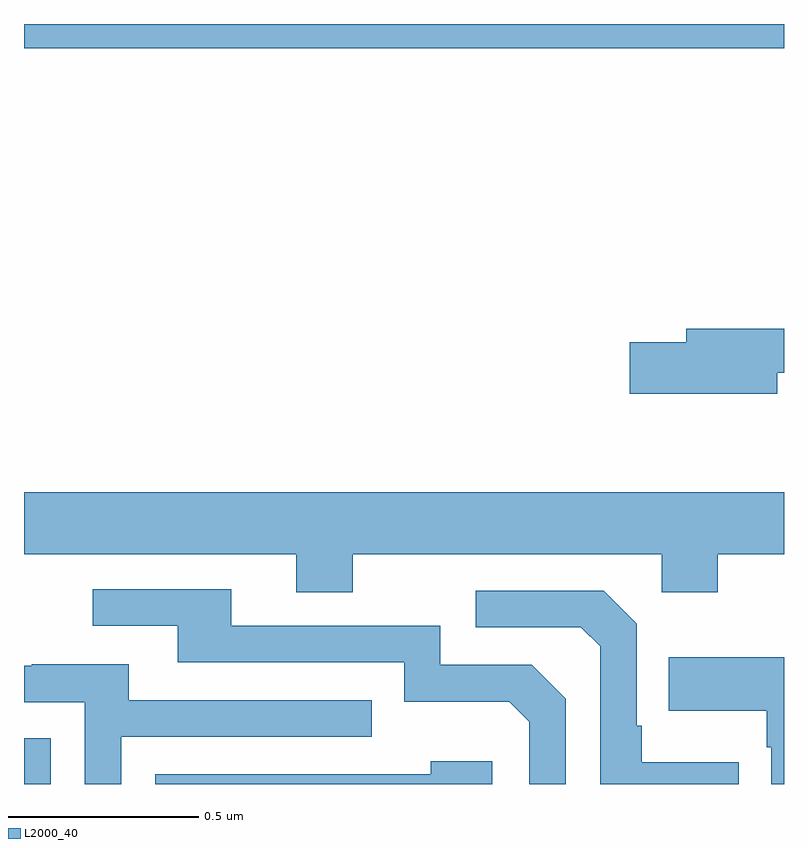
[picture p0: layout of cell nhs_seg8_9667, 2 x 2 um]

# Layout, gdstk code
import gdstk
lib = gdstk.Library(unit=1e-6, precision=1e-09)
def R(c, l, rs):  # rectangles x0, y0, x1, y1
    for r in rs: c.add(gdstk.rectangle(r[:2], r[2:], *l))
def P(c, l, *ps):  # polygons
    for p in ps: c.add(gdstk.Polygon(p, *l))
L2000_40 = (2000, 40)

nhs_seg8_9667 = lib.new_cell('nhs_seg8_9667')
R(nhs_seg8_9667, L2000_40, [(239,1111.9,239.07,1112.02), (239,1113.836,241,1113.9)])
P(nhs_seg8_9667, L2000_40, [(240.982,1112.982),(241,1112.982),(241,1113.098),(240.743,1113.098),(240.743,1113.062),(240.594,1113.062),(240.594,1112.927),(240.982,1112.927)],
  [(239.865,1112.504),(240.678,1112.504),(240.678,1112.405),(240.825,1112.405),(240.825,1112.504),(241,1112.504),(241,1112.668),(239,1112.668),(239,1112.504),(239.717,1112.504),(239.717,1112.405),(239.865,1112.405)],
  [(240.426,1112.124),(240.336,1112.214),(240.096,1112.214),(240.096,1112.316),(239.545,1112.316),(239.545,1112.412),(239.181,1112.412),(239.181,1112.316),(239.405,1112.316),(239.405,1112.22),(240,1112.22),(240,1112.117),(240.277,1112.117),(240.33,1112.064),(240.33,1111.9),(240.426,1111.9)],
  [(240.881,1111.957),(240.625,1111.957),(240.625,1112.053),(240.612,1112.053),(240.612,1112.322),(240.525,1112.409),(240.189,1112.409),(240.189,1112.313),(240.465,1112.313),(240.516,1112.262),(240.516,1111.9),(240.881,1111.9)],
  [(241,1112.233),(240.697,1112.233),(240.697,1112.093),(240.954,1112.093),(240.954,1111.997),(240.966,1111.997),(240.966,1111.9),(241,1111.9)],
  [(239.256,1112.025),(239.915,1112.025),(239.915,1112.121),(239.275,1112.121),(239.275,1112.215),(239.021,1112.215),(239.021,1112.211),(239,1112.211),(239,1112.115),(239.16,1112.115),(239.16,1111.9),(239.256,1111.9)],
  [(240.232,1111.96),(240.071,1111.96),(240.071,1111.926),(239.346,1111.926),(239.346,1111.9),(240.232,1111.9)])

lib.write_gds('nhs_seg8_9667.gds')
